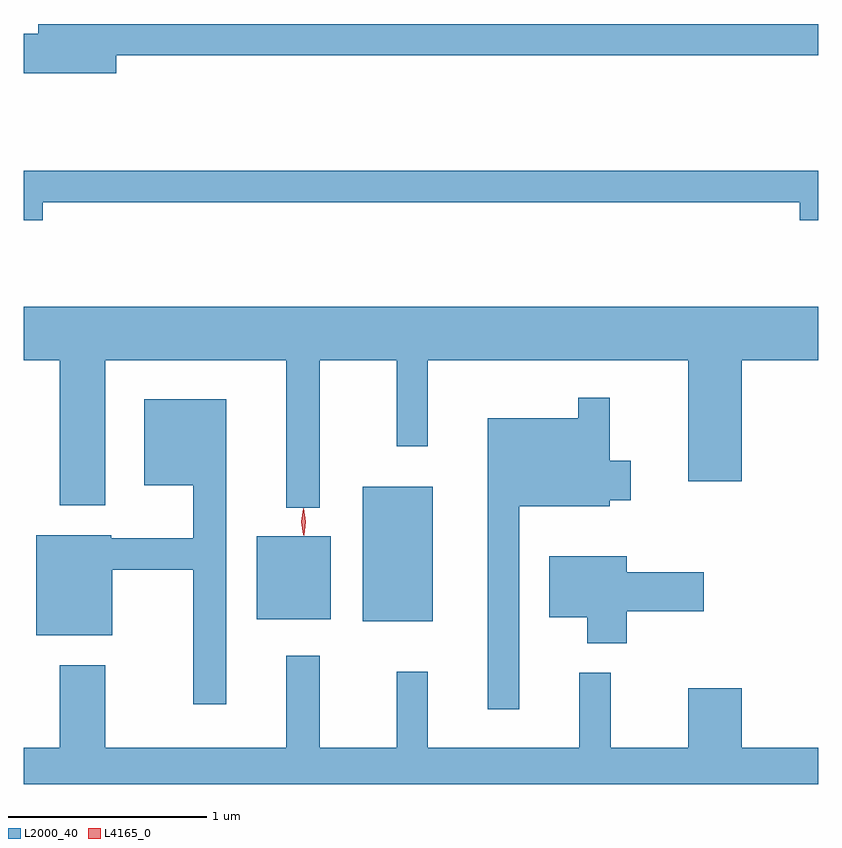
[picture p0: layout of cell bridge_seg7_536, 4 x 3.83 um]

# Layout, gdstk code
import gdstk
lib = gdstk.Library(unit=1e-6, precision=1e-09)
def R(c, l, rs):  # rectangles x0, y0, x1, y1
    for r in rs: c.add(gdstk.rectangle(r[:2], r[2:], *l))
def P(c, l, *ps):  # polygons
    for p in ps: c.add(gdstk.Polygon(p, *l))
L2000_40 = (2000, 40)
L4165_0 = (4165, 0)

bridge_seg7_536 = lib.new_cell('bridge_seg7_536')
R(bridge_seg7_536, L2000_40, [(892.756,1752.961,893.109,1753.639), (892.221,1752.971,892.594,1753.389)])
P(bridge_seg7_536, L2000_40, [(891.514,1755.811),(895.049,1755.811),(895.049,1755.969),(891.121,1755.969),(891.121,1755.919),(891.049,1755.919),(891.049,1755.721),(891.514,1755.721)],
  [(891.144,1755.071),(894.956,1755.071),(894.956,1754.981),(895.049,1754.981),(895.049,1755.229),(891.049,1755.229),(891.049,1754.981),(891.144,1754.981)],
  [(892.539,1754.276),(892.926,1754.276),(892.926,1753.843),(893.084,1753.843),(893.084,1754.276),(894.396,1754.276),(894.396,1753.666),(894.664,1753.666),(894.664,1754.276),(895.049,1754.276),(895.049,1754.544),(891.049,1754.544),(891.049,1754.276),(891.231,1754.276),(891.231,1753.546),(891.459,1753.546),(891.459,1754.276),(892.371,1754.276),(892.371,1753.533),(892.539,1753.533)],
  [(893.544,1753.541),(893.999,1753.541),(893.999,1753.571),(894.104,1753.571),(894.104,1753.769),(893.999,1753.769),(893.999,1754.088),(893.841,1754.088),(893.841,1753.984),(893.386,1753.984),(893.386,1752.518),(893.544,1752.518)],
  [(892.069,1754.079),(891.656,1754.079),(891.656,1753.646),(891.901,1753.646),(891.901,1753.379),(891.49,1753.379),(891.49,1753.394),(891.111,1753.394),(891.111,1752.891),(891.494,1752.891),(891.494,1753.221),(891.901,1753.221),(891.901,1752.543),(892.069,1752.543)],
  [(894.084,1753.011),(894.474,1753.011),(894.474,1753.209),(894.084,1753.209),(894.084,1753.289),(893.696,1753.289),(893.696,1752.981),(893.886,1752.981),(893.886,1752.851),(894.084,1752.851)],
  [(895.049,1752.324),(894.664,1752.324),(894.664,1752.624),(894.396,1752.624),(894.396,1752.324),(894.004,1752.324),(894.004,1752.703),(893.846,1752.703),(893.846,1752.324),(893.084,1752.324),(893.084,1752.708),(892.926,1752.708),(892.926,1752.324),(892.539,1752.324),(892.539,1752.788),(892.371,1752.788),(892.371,1752.324),(891.459,1752.324),(891.459,1752.739),(891.231,1752.739),(891.231,1752.324),(891.049,1752.324),(891.049,1752.142),(895.049,1752.142)])
P(bridge_seg7_536, L4165_0, [(892.458,1753.394),(892.449,1753.462),(892.458,1753.53),(892.458,1753.53),(892.459,1753.53),(892.468,1753.462),(892.46,1753.394),(892.459,1753.394)],
  [(892.456,1753.398),(892.447,1753.462),(892.456,1753.527),(892.457,1753.527),(892.457,1753.527),(892.467,1753.462),(892.457,1753.398),(892.457,1753.398)])

lib.write_gds('bridge_seg7_536.gds')
